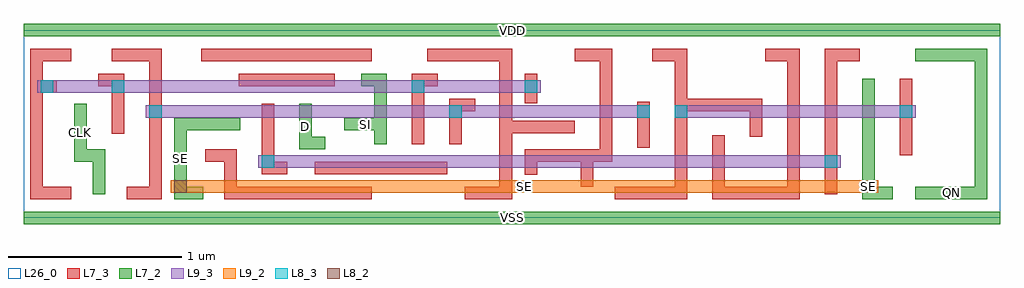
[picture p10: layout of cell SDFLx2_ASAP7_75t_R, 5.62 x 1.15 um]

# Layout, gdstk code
import gdstk
lib = gdstk.Library(unit=1e-6, precision=1e-09)
def R(c, l, rs):  # rectangles x0, y0, x1, y1
    for r in rs: c.add(gdstk.rectangle(r[:2], r[2:], *l))
L7_2 = (7, 2)
L7_3 = (7, 3)
L8_2 = (8, 2)
L8_3 = (8, 3)
L9_2 = (9, 2)
L9_3 = (9, 3)
L26_0 = (26, 0)

sdflx2_asap7_75t_r = lib.new_cell('SDFLx2_ASAP7_75t_R')
R(sdflx2_asap7_75t_r, L7_2, [(0,-0.036,5.616,0.036), (0.864,0.108,1.032,0.18), (0.864,0.108,0.936,0.576), (4.824,0.108,5,0.18), (4.824,0.108,4.896,0.8), (5.128,0.108,5.544,0.18), (5.472,0.108,5.544,0.972), (0.396,0.136,0.468,0.396), (0.288,0.324,0.468,0.396), (0.288,0.324,0.36,0.656), (1.584,0.396,1.656,0.656), (1.584,0.396,1.732,0.468), (2.016,0.424,2.088,0.828), (0.864,0.504,1.244,0.576), (1.844,0.504,2.088,0.576), (1.94,0.756,2.088,0.828), (5.128,0.9,5.544,0.972), (0,1.044,5.616,1.116)])
R(sdflx2_asap7_75t_r, L7_3, [(0.036,0.108,0.108,0.972), (0.036,0.108,0.272,0.18), (0.592,0.108,0.792,0.18), (0.72,0.108,0.792,0.972), (1.152,0.108,1.224,0.396), (1.152,0.108,2,0.18), (2.536,0.108,2.808,0.18), (2.736,0.108,2.808,0.972), (3.4,0.108,3.816,0.18), (3.744,0.108,3.816,0.972), (3.96,0.108,4.032,0.476), (3.96,0.108,4.464,0.18), (4.392,0.108,4.464,0.972), (4.608,0.136,4.68,0.972), (3.204,0.18,3.276,0.396), (2.88,0.248,2.952,0.396), (1.368,0.252,1.516,0.324), (1.368,0.252,1.44,0.656), (1.672,0.252,2.436,0.324), (1.044,0.324,1.224,0.396), (2.88,0.324,3.384,0.396), (3.312,0.324,3.384,0.972), (5.04,0.36,5.112,0.8), (3.528,0.404,3.6,0.668), (2.232,0.424,2.304,0.828), (2.448,0.424,2.52,0.684), (4.176,0.468,4.248,0.684), (0.504,0.484,0.576,0.828), (2.736,0.488,3.168,0.56), (2.448,0.612,2.596,0.684), (3.744,0.612,4.248,0.684), (2.88,0.66,2.952,0.828), (0.036,0.72,0.188,0.792), (0.428,0.756,0.576,0.828), (1.236,0.756,1.788,0.828), (2.232,0.756,2.38,0.828), (0.036,0.9,0.272,0.972), (0.504,0.9,0.792,0.972), (1.02,0.9,2,0.972), (2.32,0.9,2.808,0.972), (3.168,0.9,3.384,0.972), (3.616,0.9,3.816,0.972), (4.264,0.9,4.464,0.972), (4.608,0.9,4.808,0.972)])
R(sdflx2_asap7_75t_r, L8_2, [(0.864,0.144,0.936,0.216), (4.824,0.144,4.896,0.216)])
R(sdflx2_asap7_75t_r, L8_3, [(1.368,0.288,1.44,0.36), (4.608,0.288,4.68,0.36), (0.72,0.576,0.792,0.648), (2.448,0.576,2.52,0.648), (3.528,0.576,3.6,0.648), (3.744,0.576,3.816,0.648), (5.04,0.576,5.112,0.648), (0.096,0.72,0.168,0.792), (0.504,0.72,0.576,0.792), (2.232,0.72,2.304,0.792), (2.88,0.72,2.952,0.792)])
R(sdflx2_asap7_75t_r, L9_2, [(0.844,0.144,4.916,0.216)])
R(sdflx2_asap7_75t_r, L9_3, [(1.348,0.288,4.7,0.36), (0.7,0.576,3.6,0.648), (3.744,0.576,5.132,0.648), (0.076,0.72,2.972,0.792)])
R(sdflx2_asap7_75t_r, L26_0, [(0,0,5.616,1.08)])
sdflx2_asap7_75t_r.add(gdstk.Label('CLK', (0.324,0.49), layer=7, texttype=1))
sdflx2_asap7_75t_r.add(gdstk.Label('D', (1.62,0.526), layer=7, texttype=1))
sdflx2_asap7_75t_r.add(gdstk.Label('QN', (5.336,0.144), layer=7, texttype=1))
sdflx2_asap7_75t_r.add(gdstk.Label('SE', (0.9,0.342), layer=7, texttype=1))
sdflx2_asap7_75t_r.add(gdstk.Label('SI', (1.966,0.54), layer=7, texttype=1))
sdflx2_asap7_75t_r.add(gdstk.Label('VDD', (2.808,1.08), layer=7, texttype=1))
sdflx2_asap7_75t_r.add(gdstk.Label('VSS', (2.808,0), layer=7, texttype=1))
sdflx2_asap7_75t_r.add(gdstk.Label('SE', (2.88,0.18), layer=9, texttype=1))
sdflx2_asap7_75t_r.add(gdstk.Label('SE', (4.86,0.18), layer=8, texttype=1))

lib.write_gds('SDFLx2_ASAP7_75t_R.gds')
